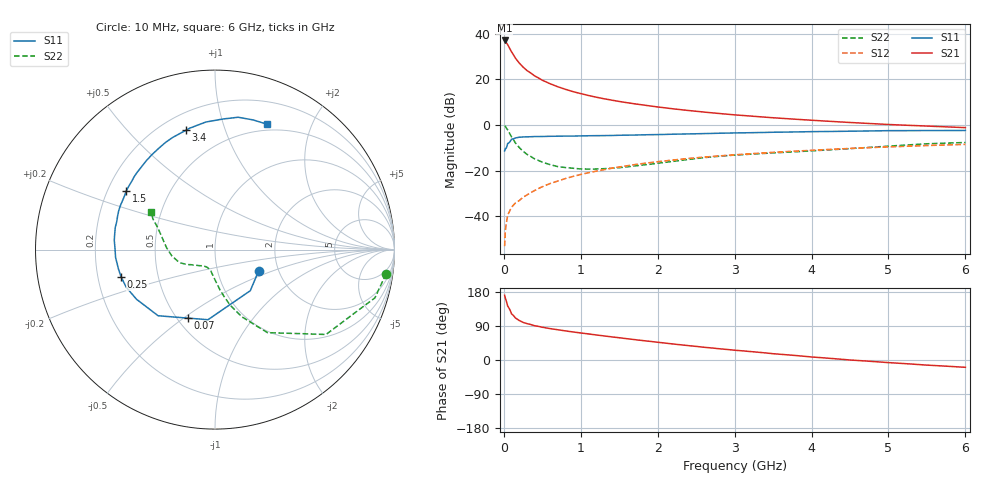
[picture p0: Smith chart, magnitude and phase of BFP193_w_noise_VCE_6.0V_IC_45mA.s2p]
! Infineon Technologies  Discrete & RF Semiconductors
! BFP193
! VCE =  6.0 V,  IC =  45 mA
! Common Emitter S-Parameters:  Jan 2017
# GHz  S  MA  R  50
!  f  S11  S21  S12  S22
! GHz  MAG  ANG  MAG  ANG  MAG  ANG  MAG  ANG
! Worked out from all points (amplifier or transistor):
!   77 points, 10 MHz to 6 GHz, reference 50 ohm
!   highest |S21| = 37.0 dB at 10 MHz (marker M1)
!   |S21| within 3 dB of that: start of sweep to 68.54 MHz
!   unconditionally stable (mu >= 1): 634.9 MHz to 2.379 GHz
!   at 130 MHz: K = 0.58, MSG = 32.7 dB, |S12| = -34.9 dB
!   at 2.2 GHz: K = 1.01, MAG = 10.6 dB, |S12| = -15.4 dB
!   at 6 GHz: K = 0.92, MSG = 3.7 dB, |S12| = -8.5 dB
!   lowest NFmin = 1.45 dB at 450 MHz
!   S11 on the Smith chart (normalised r, x): 10 MHz: 1.58, -0.40; 70 MHz: 0.57, -0.52; 250 MHz: 0.30, -0.13; 1.5 GHz: 0.28, +0.28; 3.4 GHz: 0.30, +0.74; 6 GHz: 0.43, +1.40
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0.01  0.2704 -26.0  71 171.0  0.0022 84.7  0.9624 -8.1
0.02  0.3018 -49.3  69.3 162.9  0.0049 80.4  0.9307 -16.8
0.05  0.3926 -95.7  57.42 142.2  0.0103 62.0  0.7786 -37.4
0.07  0.4103 -111.5  49.73 135.8  0.0124 60.7  0.6769 -43.8
0.1  0.4861 -130.7  39.92 121.8  0.0156 59.5  0.5476 -57.7
0.15  0.5176 -147.7  29.16 111.0  0.0194 57.1  0.4037 -68.2
0.2  0.5373 -157.1  22.75 104.2  0.022 60.6  0.3202 -74.8
0.25  0.545 -163.9  18.53 99.3  0.026 61.4  0.2652 -79.1
0.3  0.5485 -168.5  15.59 96.0  0.0291 62.9  0.227 -82.9
0.4  0.5558 -175.6  11.89 90.5  0.0365 66.3  0.1802 -88.2
0.5  0.5573 179.0  9.548 86.5  0.0441 67.0  0.1528 -92.7
0.6  0.5635 174.8  8.011 82.9  0.0518 67.0  0.1349 -97.1
0.7  0.5656 171.1  6.875 79.9  0.0588 67.8  0.1222 -100.5
0.9  0.5692 164.1  5.361 74.0  0.0743 67.0  0.1122 -108.0
1.1  0.5789 157.8  4.42 68.8  0.0895 65.7  0.1078 -115.0
1.5  0.5932 146.4  3.265 58.7  0.1197 62.0  0.1156 -129.1
2.1  0.6194 130.3  2.363 44.6  0.1631 54.7  0.1515 -145.6
3.1  0.6708 109.0  1.614 24.2  0.2269 42.1  0.2229 -165.1
3.4  0.6849 103.6  1.477 18.7  0.2444 38.7  0.2382 -170.5
4.1  0.7148 92.6  1.237 6.5  0.2833 30.5  0.2759 175.4
5.1  0.7487 78.8  1.005 -8.1  0.3345 19.0  0.3512 157.7
6  0.7561 67.6  0.872 -19.3  0.3747 8.9  0.4123 149.5
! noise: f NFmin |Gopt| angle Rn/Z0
0.45  1.45  0.4  -171  0.08
0.9  1.49  0.43  -165  0.08
1.9  2.13  0.59  -134  0.21
2.4  2.45  0.63  -119  0.45
